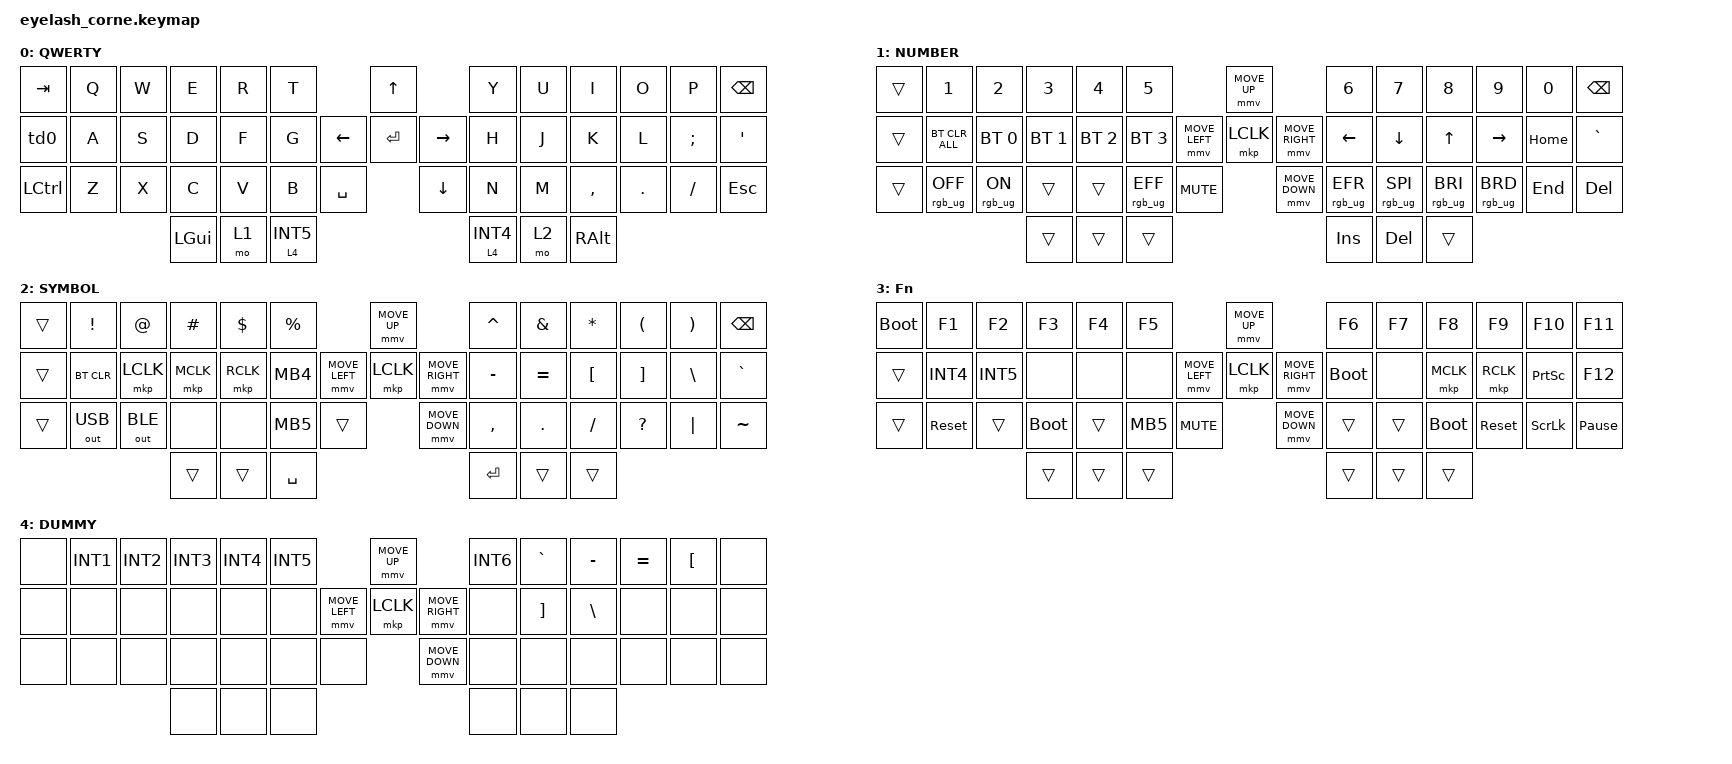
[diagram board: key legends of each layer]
#include <behaviors.dtsi>
#include <dt-bindings/zmk/bt.h>
#include <dt-bindings/zmk/keys.h>
#include <dt-bindings/zmk/mouse.h>
#include <dt-bindings/zmk/outputs.h>
#include <dt-bindings/zmk/rgb.h>
#include <dt-bindings/zmk/pointing.h>

/ {
    behaviors {
        // バトーさん専用：高速レイヤー切り替え
        lt_fast: lt_fast {
            compatible = "zmk,behavior-hold-tap";
            #binding-cells = <2>;
            flavor = "balanced";
            tapping-term-ms = <150>;
            quick-tap-ms = <125>;
            bindings = <&mo>, <&kp>;
        };

        td0: td0 {
            compatible = "zmk,behavior-tap-dance";
            #binding-cells = <0>;
            bindings = <&kp LEFT_SHIFT>, <&kp CAPS>;
        };
    };

    keymap {
        compatible = "zmk,keymap";

        default_layer {
            display-name = "QWERTY";
            bindings = <
&kp TAB    &kp Q  &kp W  &kp E     &kp R  &kp T                                                        &kp UP                      &kp Y         &kp U  &kp I      &kp O    &kp P     &kp BSPC
&td0       &kp A  &kp S  &kp D     &kp F  &kp G                                              &kp LEFT  &kp ENTER  &kp RIGHT        &kp H         &kp J  &kp K      &kp L    &kp SEMI  &kp SQT
&kp LCTRL  &kp Z  &kp X  &kp C     &kp V  &kp B          &kp SPACE                               &kp DOWN                    &kp N         &kp M  &kp COMMA  &kp DOT  &kp FSLH  &kp ESC
                         &kp LGUI  &mo 1  &lt_fast 4 INT5                                                                  &lt_fast 4 INT4  &mo 2  &kp RALT
            >;
        };

        lower_layer {
            display-name = "NUMBER";
            bindings = <
&trans  &kp N1           &kp N2          &kp N3          &kp N4          &kp N5                                                         &mmv MOVE_UP                   &kp N6           &kp N7           &kp N8           &kp N9           &kp N0    &kp BSPC
&trans  &bt BT_CLR_ALL   &bt BT_SEL 0    &bt BT_SEL 1    &bt BT_SEL 2    &bt BT_SEL 3                    &mmv MOVE_LEFT  &mkp LCLK       &mmv MOVE_RIGHT  &kp LEFT         &kp DOWN         &kp UP           &kp RIGHT        &kp HOME  &kp GRAVE
&trans  &rgb_ug RGB_OFF  &rgb_ug RGB_ON  &trans          &trans          &rgb_ug RGB_EFF  &kp C_MUTE                    &mmv MOVE_DOWN                   &rgb_ug RGB_EFR  &rgb_ug RGB_SPI  &rgb_ug RGB_BRI  &rgb_ug RGB_BRD  &kp END   &kp DEL
                                         &trans          &trans          &trans                                                                          &kp INS          &kp DEL          &trans
            >;
        };

        raise_layer {
            display-name = "SYMBOL";
            bindings = <
&trans  &kp EXCL      &kp AT        &kp HASH    &kp DLLR    &kp PRCNT                            &mmv MOVE_UP                     &kp CARET   &kp AMPS    &kp ASTRK   &kp LPAR    &kp RPAR     &kp BSPC
&trans  &bt BT_CLR    &mkp LCLK     &mkp MCLK   &mkp RCLK   &kp MB4                &mmv MOVE_LEFT  &mkp LCLK       &mmv MOVE_RIGHT  &kp MINUS   &kp EQUAL   &kp LBKT    &kp RBKT    &kp BSLH     &kp GRAVE
&trans  &out OUT_USB  &out OUT_BLE  &none       &none       &kp MB5   &trans                    &mmv MOVE_DOWN                   &kp COMMA   &kp DOT     &kp FSLH    &kp QMARK    &kp PIPE     &kp TILDE
                                    &trans      &trans      &kp SPACE                                                            &kp RET      &trans      &trans
            >;
        };

        fn_layer {
            display-name = "Fn";
            bindings = <
&bootloader     &kp F1      &kp F2      &kp F3        &kp F4      &kp F5                                                          &mmv MOVE_UP                     &kp F6        &kp F7      &kp F8        &kp F9       &kp F10          &kp F11
&trans          &kp INT4    &kp INT5    &none         &none       &none                                         &mmv MOVE_LEFT  &mkp LCLK       &mmv MOVE_RIGHT  &bootloader   &none       &mkp MCLK     &mkp RCLK    &kp PRINTSCREEN  &kp F12
&trans          &sys_reset  &trans      &bootloader   &trans      &kp MB5   &kp C_MUTE                    &mmv MOVE_DOWN                   &trans        &trans      &bootloader   &sys_reset   &kp SCROLLLOCK   &kp PAUSE_BREAK
                                        &trans        &trans      &trans                                                                          &trans        &trans      &trans
            >;
        };

        // 5番目のレイヤー：JIS定数だけを並べたStudioスキャン用「DUMMY」
        dummy_layer {
            display-name = "DUMMY";
            bindings = <
&none  &kp INT1  &kp INT2  &kp INT3  &kp INT4  &kp INT5                                       &mmv MOVE_UP                     &kp INT6  &kp GRAVE  &kp MINUS  &kp EQUAL  &kp LBKT  &none
&none  &none     &none     &none     &none     &none                           &mmv MOVE_LEFT &mkp LCLK  &mmv MOVE_RIGHT       &none     &kp RBKT   &kp BSLH   &none      &none     &none
&none  &none     &none     &none     &none     &none        &none              &mmv MOVE_DOWN                   &none  &none  &none     &none      &none      &none
                                 &none     &none     &none                                                            &none  &none     &none
            >;
        };
    };
};
